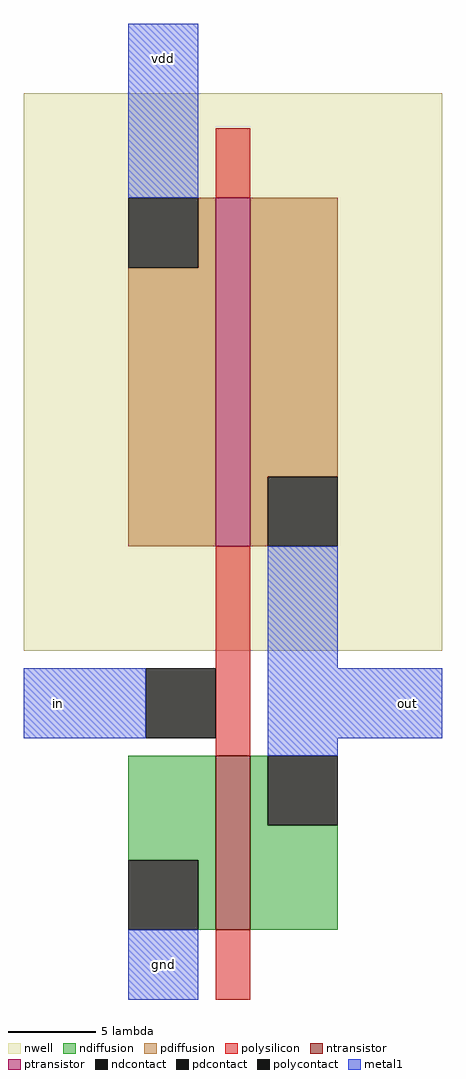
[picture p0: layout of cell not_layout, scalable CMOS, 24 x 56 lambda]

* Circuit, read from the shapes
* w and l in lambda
.subckt not_layout gnd in out vdd
M1 out in gnd VSUBS nfet w=10 l=2
M2 out in vdd n1 pfet w=20 l=2
.ends

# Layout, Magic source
magic
tech scmos
<< nwell >>
rect 0 0 24 32
<< ntransistor >>
rect 11 -16 13 -6
<< ptransistor >>
rect 11 6 13 26
<< ndiffusion >>
rect 6 -12 11 -6
rect 10 -16 11 -12
rect 13 -10 14 -6
rect 13 -16 18 -10
<< pdiffusion >>
rect 10 22 11 26
rect 6 6 11 22
rect 13 10 18 26
rect 13 6 14 10
<< ndcontact >>
rect 6 -16 10 -12
rect 14 -10 18 -6
<< pdcontact >>
rect 6 22 10 26
rect 14 6 18 10
<< polysilicon >>
rect 11 26 13 30
rect 11 -6 13 6
rect 11 -20 13 -16
<< polycontact >>
rect 7 -5 11 -1
<< metal1 >>
rect 6 26 10 36
rect 14 -1 18 6
rect 0 -5 7 -1
rect 14 -5 24 -1
rect 14 -6 18 -5
rect 6 -20 10 -16
<< labels >>
rlabel metal1 1 -4 3 -2 3 in
rlabel metal1 7 -19 9 -17 1 gnd
rlabel metal1 21 -4 23 -2 7 out
rlabel metal1 7 33 9 35 5 vdd
<< end >>
